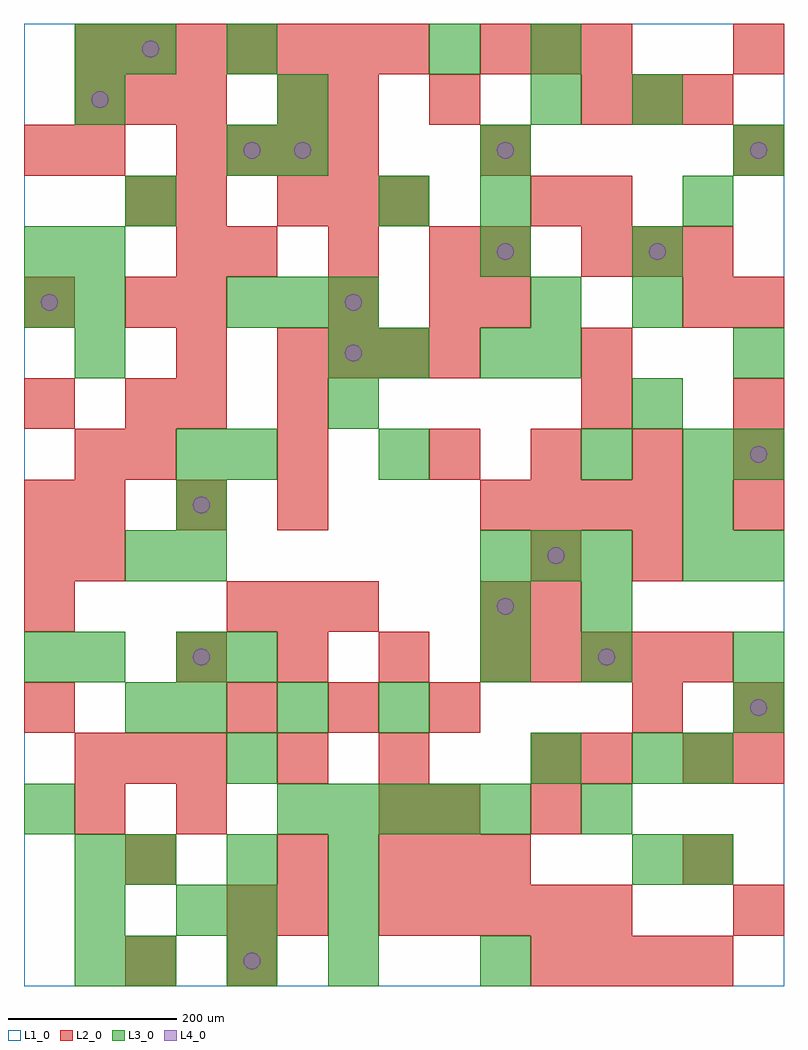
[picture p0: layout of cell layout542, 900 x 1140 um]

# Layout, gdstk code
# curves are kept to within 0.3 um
import gdstk
lib = gdstk.Library(unit=1e-6, precision=1e-09)
def R(c, l, rs):  # rectangles x0, y0, x1, y1
    for r in rs: c.add(gdstk.rectangle(r[:2], r[2:], *l))
def A(c, l, x, y, w, h, nx, ny, dx, dy):  # array of equal rectangles
    R(c, l, [(x+i*dx, y+j*dy, x+i*dx+w, y+j*dy+h) for i in range(nx) for j in range(ny)])
def P(c, l, *ps):  # polygons
    for p in ps: c.add(gdstk.Polygon(p, *l))
L1_0 = (1, 0)
L2_0 = (2, 0)
L3_0 = (3, 0)
L4_0 = (4, 0)

layout542 = lib.new_cell('layout542')
R(layout542, L1_0, [(0,0,900,1140)])
A(layout542, L2_0, 600, 0, 60, 60, 4, 2, 60, 360)
A(layout542, L2_0, 420, 60, 60, 60, 5, 1, 60, 0)
A(layout542, L2_0, 420, 120, 60, 60, 3, 1, 60, 0)
A(layout542, L2_0, 60, 240, 60, 60, 3, 2, 60, 780)
A(layout542, L2_0, 240, 300, 60, 60, 3, 2, 120, 540)
A(layout542, L2_0, 180, 360, 60, 60, 4, 1, 120, 0)
A(layout542, L2_0, 0, 420, 60, 60, 1, 3, 0, 60)
A(layout542, L2_0, 240, 420, 60, 60, 3, 1, 60, 0)
A(layout542, L2_0, 60, 540, 60, 60, 3, 1, 120, 0)
A(layout542, L2_0, 540, 540, 60, 60, 4, 1, 60, 0)
A(layout542, L2_0, 840, 540, 60, 60, 1, 3, 0, 120)
A(layout542, L2_0, 120, 600, 60, 60, 3, 1, 180, 0)
A(layout542, L2_0, 600, 600, 60, 60, 3, 1, 120, 0)
A(layout542, L2_0, 120, 660, 60, 60, 1, 3, 0, 120)
A(layout542, L2_0, 180, 660, 60, 60, 1, 5, 0, 60)
A(layout542, L2_0, 300, 720, 60, 60, 4, 1, 60, 0)
A(layout542, L2_0, 660, 840, 60, 60, 3, 2, 60, 180)
A(layout542, L2_0, 300, 900, 60, 60, 3, 1, 60, 0)
A(layout542, L2_0, 180, 960, 60, 60, 4, 1, 60, 0)
A(layout542, L2_0, 60, 1080, 60, 60, 7, 1, 60, 0)
A(layout542, L2_0, 540, 1080, 60, 60, 3, 1, 60, 0)
R(layout542, L2_0, [(120,0,180,60), (240,0,300,60), (240,60,300,120), (300,60,360,120), (840,60,900,120), (120,120,180,180), (300,120,360,180), (780,120,840,180), (60,180,120,240), (180,180,240,240), (420,180,480,240), (480,180,540,240), (600,180,660,240), (300,240,360,300), (420,240,480,300), (600,240,660,300), (660,240,720,300), (780,240,840,300), (840,240,900,300), (0,300,60,360), (720,300,780,360), (840,300,900,360), (540,420,600,480), (600,420,660,480), (60,480,120,540), (600,480,660,540), (720,480,780,540), (60,600,120,660), (0,660,60,720), (300,660,360,720), (660,660,720,720), (660,720,720,780), (0,780,60,840), (360,780,420,840), (480,780,540,840), (540,780,600,840), (780,780,840,840), (540,840,600,900), (600,900,660,960), (660,900,720,960), (0,960,60,1020), (60,960,120,1020), (540,960,600,1020), (840,960,900,1020), (300,1020,360,1080), (360,1020,420,1080), (480,1020,540,1080), (840,1080,900,1140)])
A(layout542, L3_0, 60, 0, 60, 60, 1, 3, 0, 60)
A(layout542, L3_0, 120, 0, 60, 60, 3, 2, 120, 120)
A(layout542, L3_0, 300, 180, 60, 60, 5, 1, 60, 0)
A(layout542, L3_0, 180, 300, 60, 60, 3, 1, 120, 0)
A(layout542, L3_0, 840, 360, 60, 60, 1, 4, 0, 120)
A(layout542, L3_0, 180, 480, 60, 60, 1, 3, 0, 60)
A(layout542, L3_0, 540, 480, 60, 60, 3, 1, 60, 0)
A(layout542, L3_0, 780, 480, 60, 60, 1, 3, 0, 60)
A(layout542, L3_0, 60, 720, 60, 60, 1, 3, 0, 60)
A(layout542, L3_0, 240, 780, 60, 60, 3, 1, 60, 0)
A(layout542, L3_0, 540, 840, 60, 60, 1, 3, 0, 60)
R(layout542, L3_0, [(540,0,600,60), (180,60,240,120), (240,60,300,120), (360,60,420,120), (720,120,780,180), (780,120,840,180), (0,180,60,240), (660,180,720,240), (240,240,300,300), (600,240,660,300), (720,240,780,300), (780,240,840,300), (120,300,180,360), (840,300,900,360), (0,360,60,420), (60,360,120,420), (180,360,240,420), (240,360,300,420), (540,360,600,420), (660,360,720,420), (540,420,600,480), (660,420,720,480), (120,480,180,540), (240,600,300,660), (420,600,480,660), (660,600,720,660), (360,660,420,720), (720,660,780,720), (360,720,420,780), (420,720,480,780), (540,720,600,780), (600,720,660,780), (0,780,60,840), (600,780,660,840), (720,780,780,840), (0,840,60,900), (720,840,780,900), (120,900,180,960), (420,900,480,960), (780,900,840,960), (240,960,300,1020), (300,960,360,1020), (840,960,900,1020), (60,1020,120,1080), (300,1020,360,1080), (600,1020,660,1080), (720,1020,780,1080), (60,1080,120,1140), (120,1080,180,1140), (240,1080,300,1140), (480,1080,540,1140), (600,1080,660,1140)])
P(layout542, L4_0, [(40,810),(39.239,813.827),(37.071,817.071),(33.827,819.239),(30,820),(26.173,819.239),(22.929,817.071),(20.761,813.827),(20,810),(20.761,806.173),(22.929,802.929),(26.173,800.761),(30,800),(33.827,800.761),(37.071,802.929),(39.239,806.173)],
  [(100,1050),(99.239,1053.827),(97.071,1057.071),(93.827,1059.239),(90,1060),(86.173,1059.239),(82.929,1057.071),(80.761,1053.827),(80,1050),(80.761,1046.173),(82.929,1042.929),(86.173,1040.761),(90,1040),(93.827,1040.761),(97.071,1042.929),(99.239,1046.173)],
  [(160,1110),(159.239,1113.827),(157.071,1117.071),(153.827,1119.239),(150,1120),(146.173,1119.239),(142.929,1117.071),(140.761,1113.827),(140,1110),(140.761,1106.173),(142.929,1102.929),(146.173,1100.761),(150,1100),(153.827,1100.761),(157.071,1102.929),(159.239,1106.173)],
  [(220,390),(219.239,393.827),(217.071,397.071),(213.827,399.239),(210,400),(206.173,399.239),(202.929,397.071),(200.761,393.827),(200,390),(200.761,386.173),(202.929,382.929),(206.173,380.761),(210,380),(213.827,380.761),(217.071,382.929),(219.239,386.173)],
  [(220,570),(219.239,573.827),(217.071,577.071),(213.827,579.239),(210,580),(206.173,579.239),(202.929,577.071),(200.761,573.827),(200,570),(200.761,566.173),(202.929,562.929),(206.173,560.761),(210,560),(213.827,560.761),(217.071,562.929),(219.239,566.173)],
  [(280,30),(279.239,33.827),(277.071,37.071),(273.827,39.239),(270,40),(266.173,39.239),(262.929,37.071),(260.761,33.827),(260,30),(260.761,26.173),(262.929,22.929),(266.173,20.761),(270,20),(273.827,20.761),(277.071,22.929),(279.239,26.173)],
  [(280,990),(279.239,993.827),(277.071,997.071),(273.827,999.239),(270,1000),(266.173,999.239),(262.929,997.071),(260.761,993.827),(260,990),(260.761,986.173),(262.929,982.929),(266.173,980.761),(270,980),(273.827,980.761),(277.071,982.929),(279.239,986.173)],
  [(340,990),(339.239,993.827),(337.071,997.071),(333.827,999.239),(330,1000),(326.173,999.239),(322.929,997.071),(320.761,993.827),(320,990),(320.761,986.173),(322.929,982.929),(326.173,980.761),(330,980),(333.827,980.761),(337.071,982.929),(339.239,986.173)],
  [(400,750),(399.239,753.827),(397.071,757.071),(393.827,759.239),(390,760),(386.173,759.239),(382.929,757.071),(380.761,753.827),(380,750),(380.761,746.173),(382.929,742.929),(386.173,740.761),(390,740),(393.827,740.761),(397.071,742.929),(399.239,746.173)],
  [(400,810),(399.239,813.827),(397.071,817.071),(393.827,819.239),(390,820),(386.173,819.239),(382.929,817.071),(380.761,813.827),(380,810),(380.761,806.173),(382.929,802.929),(386.173,800.761),(390,800),(393.827,800.761),(397.071,802.929),(399.239,806.173)],
  [(580,450),(579.239,453.827),(577.071,457.071),(573.827,459.239),(570,460),(566.173,459.239),(562.929,457.071),(560.761,453.827),(560,450),(560.761,446.173),(562.929,442.929),(566.173,440.761),(570,440),(573.827,440.761),(577.071,442.929),(579.239,446.173)],
  [(580,870),(579.239,873.827),(577.071,877.071),(573.827,879.239),(570,880),(566.173,879.239),(562.929,877.071),(560.761,873.827),(560,870),(560.761,866.173),(562.929,862.929),(566.173,860.761),(570,860),(573.827,860.761),(577.071,862.929),(579.239,866.173)],
  [(580,990),(579.239,993.827),(577.071,997.071),(573.827,999.239),(570,1000),(566.173,999.239),(562.929,997.071),(560.761,993.827),(560,990),(560.761,986.173),(562.929,982.929),(566.173,980.761),(570,980),(573.827,980.761),(577.071,982.929),(579.239,986.173)],
  [(640,510),(639.239,513.827),(637.071,517.071),(633.827,519.239),(630,520),(626.173,519.239),(622.929,517.071),(620.761,513.827),(620,510),(620.761,506.173),(622.929,502.929),(626.173,500.761),(630,500),(633.827,500.761),(637.071,502.929),(639.239,506.173)],
  [(700,390),(699.239,393.827),(697.071,397.071),(693.827,399.239),(690,400),(686.173,399.239),(682.929,397.071),(680.761,393.827),(680,390),(680.761,386.173),(682.929,382.929),(686.173,380.761),(690,380),(693.827,380.761),(697.071,382.929),(699.239,386.173)],
  [(760,870),(759.239,873.827),(757.071,877.071),(753.827,879.239),(750,880),(746.173,879.239),(742.929,877.071),(740.761,873.827),(740,870),(740.761,866.173),(742.929,862.929),(746.173,860.761),(750,860),(753.827,860.761),(757.071,862.929),(759.239,866.173)],
  [(880,330),(879.239,333.827),(877.071,337.071),(873.827,339.239),(870,340),(866.173,339.239),(862.929,337.071),(860.761,333.827),(860,330),(860.761,326.173),(862.929,322.929),(866.173,320.761),(870,320),(873.827,320.761),(877.071,322.929),(879.239,326.173)],
  [(880,630),(879.239,633.827),(877.071,637.071),(873.827,639.239),(870,640),(866.173,639.239),(862.929,637.071),(860.761,633.827),(860,630),(860.761,626.173),(862.929,622.929),(866.173,620.761),(870,620),(873.827,620.761),(877.071,622.929),(879.239,626.173)],
  [(880,990),(879.239,993.827),(877.071,997.071),(873.827,999.239),(870,1000),(866.173,999.239),(862.929,997.071),(860.761,993.827),(860,990),(860.761,986.173),(862.929,982.929),(866.173,980.761),(870,980),(873.827,980.761),(877.071,982.929),(879.239,986.173)])

lib.write_gds('layout542.gds')
